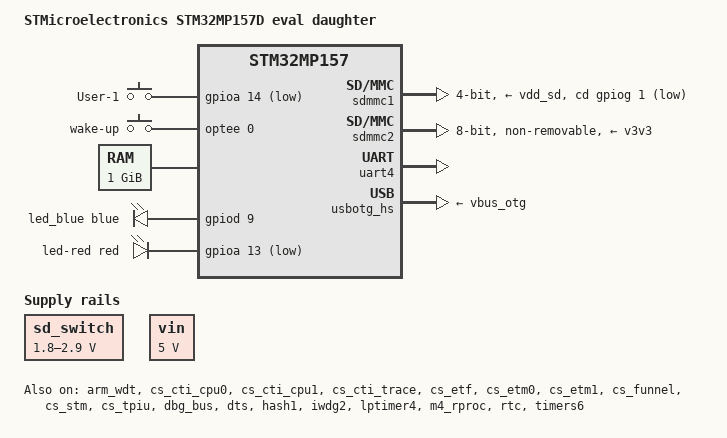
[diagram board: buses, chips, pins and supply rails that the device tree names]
// SPDX-License-Identifier: (GPL-2.0-only OR BSD-3-Clause)
/*
 * Copyright (C) STMicroelectronics 2026 - All Rights Reserved
 * Author: Amelie Delaunay <amelie.delaunay@foss.st.com> for STMicroelectronics.
 */
/dts-v1/;

#include "stm32mp157.dtsi"
#include "stm32mp15xd.dtsi"
#include "stm32mp15-pinctrl.dtsi"
#include "stm32mp15xxaa-pinctrl.dtsi"
#include "stm32mp157-scmi.dtsi"
#include <dt-bindings/gpio/gpio.h>
#include <dt-bindings/input/linux-event-codes.h>
#include <dt-bindings/leds/common.h>

/ {
	model = "STMicroelectronics STM32MP157D eval daughter";
	compatible = "st,stm32mp157d-ed1", "st,stm32mp157";

	aliases {
		serial0 = &uart4;
	};

	chosen {
		stdout-path = "serial0:115200n8";
	};

	gpio-keys {
		compatible = "gpio-keys";

		button-user {
			label = "User-1";
			linux,code = <BTN_1>;
			gpios = <&gpioa 14 (GPIO_ACTIVE_LOW | GPIO_PULL_UP)>;
		};

		button-wakeup {
			label = "wake-up";
			linux,code = <KEY_WAKEUP>;
			interrupts-extended = <&optee 0>;
			wakeup-source;
		};
	};

	memory@c0000000 {
		device_type = "memory";
		reg = <0xc0000000 0x40000000>;
	};

	reserved-memory {
		#address-cells = <1>;
		#size-cells = <1>;
		ranges;

		mcuram2: mcuram2@10000000 {
			compatible = "shared-dma-pool";
			reg = <0x10000000 0x40000>;
			no-map;
		};

		vdev0vring0: vdev0vring0@10040000 {
			compatible = "shared-dma-pool";
			reg = <0x10040000 0x1000>;
			no-map;
		};

		vdev0vring1: vdev0vring1@10041000 {
			compatible = "shared-dma-pool";
			reg = <0x10041000 0x1000>;
			no-map;
		};

		vdev0buffer: vdev0buffer@10042000 {
			compatible = "shared-dma-pool";
			reg = <0x10042000 0x4000>;
			no-map;
		};

		mcuram: mcuram@30000000 {
			compatible = "shared-dma-pool";
			reg = <0x30000000 0x40000>;
			no-map;
		};

		retram: retram@38000000 {
			compatible = "shared-dma-pool";
			reg = <0x38000000 0x10000>;
			no-map;
		};

		gpu_reserved: gpu@e8000000 {
			reg = <0xe8000000 0x8000000>;
			no-map;
		};

		optee@fe000000 {
			reg = <0xfe000000 0x2000000>;
			no-map;
		};

		/* global autoconfigured region for contiguous allocations */
		linux,cma {
			compatible = "shared-dma-pool";
			reusable;
			size = <0x8000000>;
			alignment = <0x2000>;
			linux,cma-default;
		};
	};

	led {
		compatible = "gpio-leds";
		led_blue: led-blue {
			gpios = <&gpiod 9 GPIO_ACTIVE_HIGH>;
			linux,default-trigger = "heartbeat";
			default-state = "off";
			function = LED_FUNCTION_HEARTBEAT;
			color = <LED_COLOR_ID_BLUE>;
		};

		led-red {
			function = LED_FUNCTION_STATUS;
			color = <LED_COLOR_ID_RED>;
			gpios = <&gpioa 13 GPIO_ACTIVE_LOW>;
		};
	};

	options {
		u-boot {
			compatible = "u-boot,config";
			boot-led = <&led_blue>;
		};
	};

	sd_switch: regulator-sd-switch {
		compatible = "regulator-gpio";
		regulator-name = "sd_switch";
		regulator-min-microvolt = <1800000>;
		regulator-max-microvolt = <2900000>;
		regulator-type = "voltage";
		regulator-always-on;

		gpios = <&gpiof 14 GPIO_ACTIVE_HIGH>;
		gpios-states = <0>;
		states = <1800000 0x1>,
			 <2900000 0x0>;
	};

	vin: vin {
		compatible = "regulator-fixed";
		regulator-name = "vin";
		regulator-min-microvolt = <5000000>;
		regulator-max-microvolt = <5000000>;
		regulator-always-on;
	};
};

&adc {
	/* ANA0, ANA1 are dedicated pins and don't need pinctrl: only in6. */
	pinctrl-0 = <&adc1_in6_pins_a>;
	pinctrl-names = "default";
	vdd-supply = <&vdd>;
	vdda-supply = <&vdda>;
	vref-supply = <&vdda>;
	status = "disabled";
	adc1: adc@0 {
		status = "okay";
		channel@0 {
			reg = <0>;
			/* 16.5 ck_cycles sampling time */
			st,min-sample-time-ns = <400>;
		};
		channel@1 {
			reg = <1>;
			st,min-sample-time-ns = <400>;
		};
		channel@6 {
			reg = <6>;
			st,min-sample-time-ns = <400>;
		};
	};
};

&arm_wdt {
	timeout-sec = <32>;
	bootph-all;
	status = "okay";
};

&bsec {
	bootph-all;
};

&cpu0 {
	cpu-supply = <&vddcore>;
};

&cpu1 {
	cpu-supply = <&vddcore>;
};

&cs_cti_cpu0 {
	status = "okay";
};

&cs_cti_cpu1 {
	status = "okay";
};

&cs_cti_trace {
	status = "okay";
};

&cs_etf {
	status = "okay";
};

&cs_etm0 {
	status = "okay";
};

&cs_etm1 {
	status = "okay";
};

&cs_funnel {
	status = "okay";
};

&cs_stm {
	status = "okay";
};

&cs_tpiu {
	status = "okay";
};

&dac {
	pinctrl-names = "default";
	pinctrl-0 = <&dac_ch1_pins_a &dac_ch2_pins_a>;
	vref-supply = <&vdda>;
	status = "disabled";
	dac1: dac@1 {
		status = "okay";
	};
	dac2: dac@2 {
		status = "okay";
	};
};

&dbg_bus {
	status = "okay";
};

&dts {
	status = "okay";
};

&etzpc {
	bootph-all;
};

&gpioa {
	bootph-all;
};

&gpiob {
	bootph-all;
};

&gpioc {
	bootph-all;
};

&gpiod {
	bootph-all;
};

&gpioe {
	bootph-all;
};

&gpiof {
	bootph-all;
};

&gpiog {
	bootph-all;
};

&gpioh {
	bootph-all;
};

&gpioi {
	bootph-all;
};

&gpioj {
	bootph-all;
};

&gpiok {
	bootph-all;
};

&gpioz {
	bootph-all;
};

&gpu {
	contiguous-area = <&gpu_reserved>;
};

&hash1 {
	status = "okay";
};

&ipcc {
	status = "okay";
};

&iwdg2 {
	timeout-sec = <32>;
	bootph-all;
	status = "okay";
};

&lptimer4 {
	status = "okay";

	timer {
		status = "okay";
	};
};

&m4_rproc {
	memory-region = <&retram>, <&mcuram>, <&mcuram2>, <&vdev0vring0>,
			<&vdev0vring1>, <&vdev0buffer>;
	mboxes = <&ipcc 0>, <&ipcc 1>, <&ipcc 2>, <&ipcc 3>;
	mbox-names = "vq0", "vq1", "shutdown", "detach";
	pinctrl-names = "default";
	pinctrl-0 = <&m4_leds_orange_pins_b>;
	interrupt-parent = <&exti>;
	interrupts = <68 1>;
	status = "okay";
};

&pinctrl {
	bootph-all;
};

&pinctrl_z {
	bootph-all;
};

&psci {
	bootph-some-ram;
};

&rcc {
	bootph-all;
};

&rtc {
	status = "okay";
};

&scmi_regu {
	vddcore: regulator@3 {
		reg = <VOLTD_SCMI_STPMIC1_BUCK1>;
		regulator-name = "vddcore";
	};

	vdd: regulator@5 {
		reg = <VOLTD_SCMI_STPMIC1_BUCK3>;
		regulator-name = "vdd";
	};

	v3v3: regulator@6 {
		reg = <VOLTD_SCMI_STPMIC1_BUCK4>;
		regulator-name = "v3v3";
	};

	vdda: regulator@7 {
		reg = <VOLTD_SCMI_STPMIC1_LDO1>;
		regulator-name = "vdda";
	};

	v2v8: regulator@8 {
		reg = <VOLTD_SCMI_STPMIC1_LDO2>;
		regulator-name = "v2v8";
	};

	vdd_usb: regulator@a {
		reg = <VOLTD_SCMI_STPMIC1_LDO4>;
		regulator-name = "vdd_usb";
	};

	vdd_sd: regulator@b {
		reg = <VOLTD_SCMI_STPMIC1_LDO5>;
		regulator-name = "vdd_sd";
		regulator-boot-on;
	};

	v1v8: regulator@c {
		reg = <VOLTD_SCMI_STPMIC1_LDO6>;
		regulator-name = "v1v8";
	};

	vbus_otg: regulator@f {
		reg = <VOLTD_SCMI_STPMIC1_PWR_SW1>;
		regulator-name = "vbus_otg";
	};

	vbus_sw: regulator@10 {
		reg = <VOLTD_SCMI_STPMIC1_PWR_SW2>;
		regulator-name = "vbus_sw";
	};
};

&sdmmc1 {
	pinctrl-names = "default", "opendrain", "sleep";
	pinctrl-0 = <&sdmmc1_b4_pins_a &sdmmc1_dir_pins_a>;
	pinctrl-1 = <&sdmmc1_b4_od_pins_a &sdmmc1_dir_pins_a>;
	pinctrl-2 = <&sdmmc1_b4_sleep_pins_a &sdmmc1_dir_sleep_pins_a>;
	cd-gpios = <&gpiog 1 (GPIO_ACTIVE_LOW | GPIO_PULL_UP)>;
	disable-wp;
	st,sig-dir;
	st,neg-edge;
	st,use-ckin;
	bus-width = <4>;
	vmmc-supply = <&vdd_sd>;
	vqmmc-supply = <&sd_switch>;
	sd-uhs-sdr12;
	sd-uhs-sdr25;
	sd-uhs-sdr50;
	sd-uhs-ddr50;
	bootph-pre-ram;
	status = "okay";
};

&sdmmc1_b4_pins_a {
	bootph-pre-ram;
	pins1 {
		bootph-pre-ram;
	};
	pins2 {
		bootph-pre-ram;
	};
};

&sdmmc1_dir_pins_a {
	bootph-pre-ram;
	pins1 {
		bootph-pre-ram;
	};
	pins2 {
		bootph-pre-ram;
	};
};

&sdmmc2 {
	pinctrl-names = "default", "opendrain", "sleep";
	pinctrl-0 = <&sdmmc2_b4_pins_a &sdmmc2_d47_pins_a>;
	pinctrl-1 = <&sdmmc2_b4_od_pins_a &sdmmc2_d47_pins_a>;
	pinctrl-2 = <&sdmmc2_b4_sleep_pins_a &sdmmc2_d47_sleep_pins_a>;
	non-removable;
	no-sd;
	no-sdio;
	st,neg-edge;
	bus-width = <8>;
	vmmc-supply = <&v3v3>;
	vqmmc-supply = <&vdd>;
	mmc-ddr-3_3v;
	bootph-pre-ram;
	status = "okay";
};

&sdmmc2_b4_pins_a {
	bootph-pre-ram;
	pins1 {
		bootph-pre-ram;
	};
	pins2 {
		bootph-pre-ram;
	};
};

&sdmmc2_d47_pins_a {
	bootph-pre-ram;
	pins {
		bootph-pre-ram;
	};
};

&timers6 {
	status = "okay";
	/* spare dmas for other usage */
	/delete-property/dmas;
	/delete-property/dma-names;
	timer@5 {
		status = "okay";
	};
};

&uart4 {
	pinctrl-names = "default", "sleep", "idle";
	pinctrl-0 = <&uart4_pins_a>;
	pinctrl-1 = <&uart4_sleep_pins_a>;
	pinctrl-2 = <&uart4_idle_pins_a>;
	bootph-all;
	/delete-property/dmas;
	/delete-property/dma-names;
	status = "okay";
};

&uart4_pins_a {
	bootph-all;
	pins1 {
		bootph-all;
	};
	pins2 {
		bootph-all;
	};
};

&usbotg_hs {
	vbus-supply = <&vbus_otg>;
};

&usbphyc_port0 {
	phy-supply = <&vdd_usb>;
};

&usbphyc_port1 {
	phy-supply = <&vdd_usb>;
};
